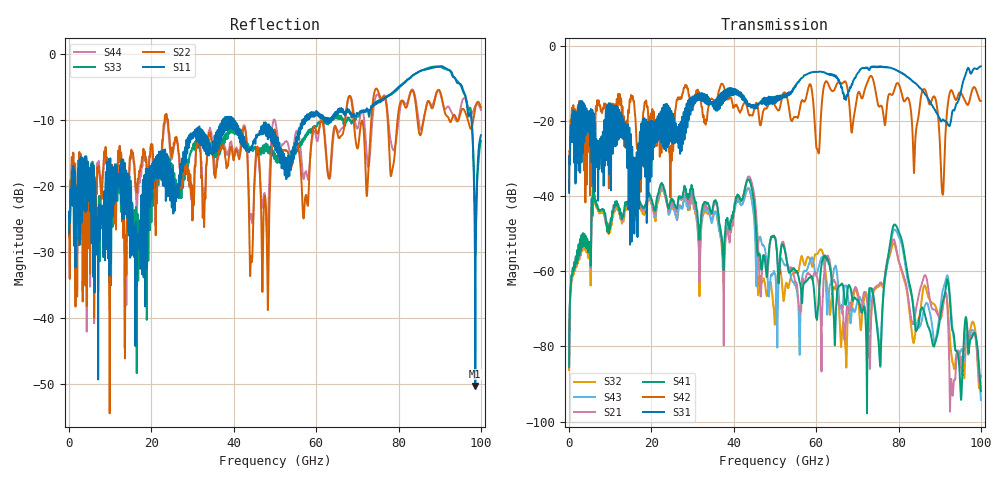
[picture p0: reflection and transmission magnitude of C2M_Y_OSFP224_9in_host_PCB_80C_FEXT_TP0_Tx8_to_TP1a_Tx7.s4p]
# GHz S RI R 45
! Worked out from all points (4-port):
!   4000 points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, 25 MHz to 100 GHz, reference 45 ohm
!   strongest paths, dB at 25 MHz, 25.02 GHz, 50.02 GHz, 75.03 GHz, 100 GHz:
!     S31: -39.1, -25.5, -13.8, -5.5, -5.4
!     S42: -38.3, -28.8, -16.0, -15.6, -14.6
!     S41: -85.4, -40.7, -51.0, -77.1, -91.9
!     S21: -85.6, -41.3, -51.3, -63.7, -87.8
!     S43: -85.3, -42.5, -60.7, -76.1, -94.2
!     S32: -86.3, -42.7, -73.6, -64.1, -90.5
!   lowest |S11| = -50.3 dB at 98.65 GHz (marker M1), VSWR 1.01, Z = 45.3 - j0.00667 ohm
!   |S11| at or under -10 dB: start of sweep to 37.47 GHz; 40.06 GHz to 56.63 GHz (16.57 GHz wide, 34.3 % of centre); 97.72 GHz to end of sweep (the widest 3 of 19)
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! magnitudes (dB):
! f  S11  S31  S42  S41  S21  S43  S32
! 25 MHz  -27.2  -39.1  -38.3  -85.4  -85.6  -85.3  -86.3
! 6.225 GHz  -31.7  -29.9  -19.2  -40.5  -40.8  -40.4  -41.1
! 43.67 GHz  -14.8  -15.6  -18.2  -35.5  -34.7  -37.9  -38.1
! 49.77 GHz  -13.9  -15.3  -15.4  -50.5  -50.7  -59.9  -70.6
! 90.67 GHz  -1.8  -19.6  -39.5  -68.4  -70.0  -65.4  -70.0
! 98.65 GHz  -50.3  -6.0  -11.3  -76.7  -77.6  -77.0  -75.8
! 100 GHz  -12.3  -5.4  -14.6  -91.9  -87.8  -94.2  -90.5
